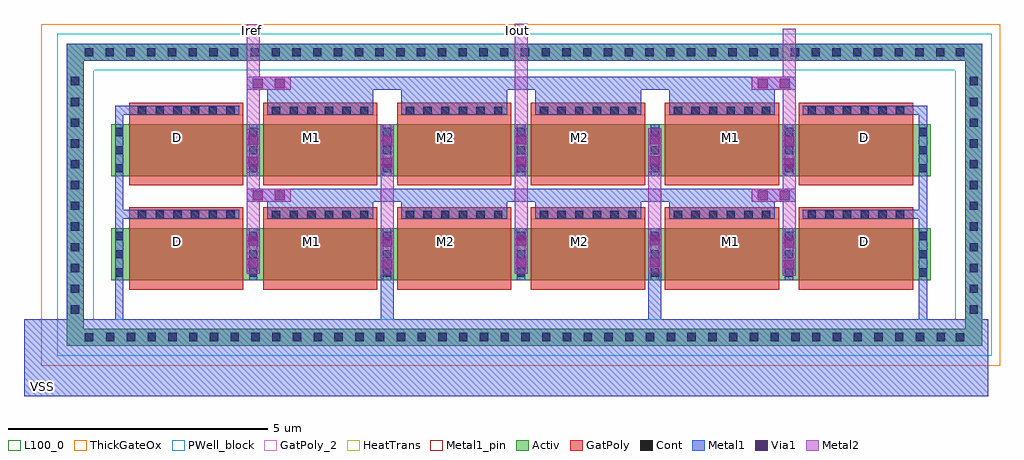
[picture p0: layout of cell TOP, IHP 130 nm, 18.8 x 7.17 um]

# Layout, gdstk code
from math import pi, radians
import gdstk
lib = gdstk.Library(unit=1e-6, precision=1e-09)
def R(c, l, rs):  # rectangles x0, y0, x1, y1
    for r in rs: c.add(gdstk.rectangle(r[:2], r[2:], *l))
def A(c, l, x, y, w, h, nx, ny, dx, dy):  # array of equal rectangles
    R(c, l, [(x+i*dx, y+j*dy, x+i*dx+w, y+j*dy+h) for i in range(nx) for j in range(ny)])
Activ = (1, 0)
GatPoly = (5, 0)
GatPoly_2 = (5, 2)
Cont = (6, 0)
Metal1 = (8, 0)
Metal1_pin = (8, 2)
Metal2 = (10, 0)
Via1 = (19, 0)
ThickGateOx = (44, 0)
PWell_block = (46, 21)
HeatTrans = (51, 0)
L100_0 = (100, 0)

nmoshv = lib.new_cell('nmosHV')
R(nmoshv, Activ, [(0,0,0.3,0.3), (0,0,2.88,1), (2.58,0,2.88,0.3)])
R(nmoshv, GatPoly, [(0.34,-0.18,2.54,1.18)])
R(nmoshv, GatPoly_2, [(0.34,-0.18,2.54,1.18)])
A(nmoshv, Cont, 0.07, 0.07, 0.16, 0.16, 1, 3, 0, 0.35)
A(nmoshv, Cont, 2.65, 0.07, 0.16, 0.16, 1, 3, 0, 0.35)
R(nmoshv, Metal1, [(0.07,0,0.23,1), (2.65,0,2.81,1)])
R(nmoshv, Metal1_pin, [(0.07,0,0.23,1), (2.65,0,2.81,1)])
R(nmoshv, ThickGateOx, [(-0.27,-0.52,3.15,1.52)])
R(nmoshv, HeatTrans, [(0.34,-0.18,2.54,1.18)])
nmoshv.add(gdstk.Label('nmosHV', (1.44,0.5), layer=63, texttype=0))
nmoshv.add(gdstk.Label('nmosHV', (1.44,0.5), layer=51, texttype=0))

top = lib.new_cell('TOP')
A(top, Activ, -5.935, -3.35, 0.4, 0.325, 40, 1, 0.4, 0)
A(top, Activ, -6.96, -2.845, 0.325, 0.4, 1, 12, 0, 0.4)
A(top, Activ, 10.345, -2.845, 0.325, 0.4, 1, 12, 0, 0.4)
A(top, Activ, -6.745, 2.14, 0.4, 0.325, 43, 1, 0.4, 0)
R(top, Activ, [(-6.96,-3.35,-6.635,-2.845), (-6.745,-3.35,-6.345,-3.025), (-6.355,-3.35,-5.935,-3.025), (10.055,-3.35,10.455,-3.025), (10.345,-3.35,10.67,-2.845), (-6.96,1.955,-6.635,2.465), (10.345,1.955,10.67,2.465)])
A(top, GatPoly, -5.76, -0.91, 2.2, 0.23, 6, 2, 2.58, 2.005)
A(top, Cont, -6.205, -3.265, 0.16, 0.16, 41, 1, 0.4, 0)
A(top, Cont, -6.88, -2.735, 0.16, 0.16, 1, 12, 0, 0.4)
A(top, Cont, 10.43, -2.735, 0.16, 0.16, 1, 12, 0, 0.4)
A(top, Cont, -5.59, -0.91, 0.16, 0.16, 6, 2, 0.34, 2.005)
A(top, Cont, -3.01, -0.91, 0.16, 0.16, 6, 2, 0.34, 2.005)
A(top, Cont, -0.43, -0.91, 0.16, 0.16, 6, 2, 0.34, 2.005)
A(top, Cont, 2.15, -0.91, 0.16, 0.16, 6, 2, 0.34, 2.005)
A(top, Cont, 4.73, -0.91, 0.16, 0.16, 6, 2, 0.34, 2.005)
A(top, Cont, 7.31, -0.91, 0.16, 0.16, 6, 2, 0.34, 2.005)
A(top, Cont, -6.615, 2.22, 0.16, 0.16, 42, 1, 0.4, 0)
R(top, Cont, [(-6.615,-3.27,-6.455,-3.11), (10.165,-3.27,10.325,-3.11), (10.165,2.22,10.325,2.38)])
A(top, Metal1, -5.935, -3.35, 0.4, 0.325, 40, 1, 0.4, 0)
A(top, Metal1, -6.96, -2.445, 0.325, 0.4, 1, 10, 0, 0.4)
A(top, Metal1, 10.345, -2.445, 0.325, 0.4, 1, 10, 0, 0.4)
A(top, Metal1, -5.34, -0.91, 0.34, 0.18, 5, 2, 0.34, 2.005)
A(top, Metal1, -3.1, -0.91, 0.34, 0.18, 6, 2, 0.34, 2.005)
A(top, Metal1, -0.52, -0.91, 0.34, 0.18, 6, 2, 0.34, 2.005)
A(top, Metal1, 2.06, -0.91, 0.34, 0.18, 6, 2, 0.34, 2.005)
A(top, Metal1, 4.64, -0.91, 0.34, 0.18, 6, 2, 0.34, 2.005)
A(top, Metal1, 7.22, -0.91, 0.34, 0.18, 5, 2, 0.34, 2.005)
A(top, Metal1, -3.1, -0.875, 2.04, 0.55, 4, 2, 2.58, 2.15)
A(top, Metal1, -6.345, 2.14, 0.4, 0.325, 41, 1, 0.4, 0)
R(top, Metal1, [(-7.785,-4.325,10.79,-2.845), (4.24,-3.805,4.49,-1.96), (-0.915,-3.65,-0.665,-1.805), (-6.96,-3.35,-6.325,-3.025), (-6.37,-3.35,-5.935,-3.025), (-6.03,-3.35,-5.87,1.175), (10.035,-3.35,10.67,-3.025), (9.45,-3.255,9.61,1.27), (-6.96,-3.045,-6.635,-2.445), (10.345,-3.045,10.67,-2.445), (6.83,-2,7.08,-1.58), (-0.915,-1.99,-0.665,-1.57), (-3.495,-1.97,-3.245,-1.55), (1.665,-1.965,1.915,-1.545), (4.24,-1.96,4.49,-1.54), (6.83,-1.58,7.08,-1.15), (-0.915,-1.57,-0.665,-1.14), (-3.495,-1.55,-3.245,-1.12), (1.665,-1.545,1.915,-1.115), (4.24,-1.54,4.49,-1.11), (-6.03,-0.91,-5.34,-0.73), (8.92,-0.91,9.61,-0.73), (-3.495,-0.575,-3.075,-0.325), (-3.075,-0.575,7.08,-0.325), (6.235,-0.575,6.655,-0.325), (6.83,-0.05,7.08,0.37), (-0.915,-0.04,-0.665,0.38), (-3.495,-0.02,-3.245,0.4), (1.665,-0.015,1.915,0.405), (4.24,-0.01,4.49,0.41), (6.83,0.37,7.08,0.8), (-0.915,0.38,-0.665,0.81), (-3.495,0.4,-3.245,0.83), (1.665,0.405,1.915,0.835), (4.24,0.41,4.49,0.84), (-6.03,1.095,-5.34,1.275), (8.92,1.095,9.61,1.275), (-6.96,1.555,-6.635,2.14), (10.345,1.555,10.67,2.14), (-3.495,1.575,-3.075,1.825), (-3.075,1.575,7.08,1.825), (6.235,1.575,6.655,1.825), (-6.96,2.14,-6.325,2.465), (10.035,2.14,10.67,2.465)])
R(top, Metal2, [(6.83,-2,7.08,-1.58), (-0.915,-1.99,-0.665,-1.57), (-0.885,-1.99,-0.695,0.075), (-3.495,-1.97,-3.245,-1.55), (1.665,-1.965,1.915,-1.545), (4.24,-1.96,4.49,-1.54), (6.83,-1.58,7.08,-1.15), (-0.915,-1.57,-0.665,-1.14), (-3.495,-1.55,-3.245,-1.12), (1.665,-1.545,1.915,-1.115), (4.24,-1.54,4.49,-1.11), (4.24,-1.425,4.49,-0.01), (6.83,-1.215,7.08,2.75), (6.87,-1.159,7.031,2.75), (-0.915,-1.14,-0.665,0.915), (-3.495,-1.12,-3.245,2.845), (1.665,-1.115,1.915,2.85), (-3.495,-0.575,-3.075,-0.325), (-3.075,-0.575,-2.65,-0.325), (6.235,-0.575,6.655,-0.325), (6.655,-0.575,7.08,-0.325), (-0.885,-0.195,-0.695,0.075), (6.83,-0.05,7.08,0.37), (-0.915,-0.04,-0.665,0.38), (-3.495,-0.02,-3.245,0.4), (1.665,-0.015,1.915,0.405), (4.24,-0.01,4.49,0.41), (6.83,0.37,7.08,0.8), (-0.915,0.38,-0.665,0.81), (-3.495,0.4,-3.245,0.83), (1.665,0.405,1.915,0.835), (4.24,0.41,4.49,0.84), (-3.495,1.575,-3.075,1.825), (-3.075,1.575,-2.65,1.825), (6.235,1.575,6.655,1.825), (6.655,1.575,7.08,1.825)])
R(top, Via1, [(6.86,-1.885,7.05,-1.695), (-0.885,-1.875,-0.695,-1.685), (-3.465,-1.855,-3.275,-1.665), (1.695,-1.85,1.885,-1.66), (4.27,-1.845,4.46,-1.655), (6.86,-1.46,7.05,-1.27), (-0.885,-1.45,-0.695,-1.26), (-3.465,-1.43,-3.275,-1.24), (1.695,-1.425,1.885,-1.235), (4.27,-1.42,4.46,-1.23), (-3.38,-0.545,-3.19,-0.355), (-2.955,-0.545,-2.765,-0.355), (6.35,-0.545,6.54,-0.355), (6.775,-0.545,6.965,-0.355), (6.86,0.065,7.05,0.255), (-0.885,0.075,-0.695,0.265), (-3.465,0.095,-3.275,0.285), (1.695,0.1,1.885,0.29), (4.27,0.105,4.46,0.295), (6.86,0.49,7.05,0.68), (-0.885,0.5,-0.695,0.69), (-3.465,0.52,-3.275,0.71), (1.695,0.525,1.885,0.715), (4.27,0.53,4.46,0.72), (-3.38,1.605,-3.19,1.795), (-2.955,1.605,-2.765,1.795), (6.35,1.605,6.54,1.795), (6.775,1.605,6.965,1.795)])
R(top, ThickGateOx, [(-7.45,-3.74,11.015,2.845)])
A(top, PWell_block, -7.145, -3.545, 0.4, 0.7, 45, 2, 0.4, 5.5)
A(top, PWell_block, -7.145, -2.845, 0.7, 0.4, 1, 12, 0, 0.4)
A(top, PWell_block, 10.155, -2.845, 0.7, 0.4, 1, 12, 0, 0.4)
R(top, L100_0, [(-6.616,-3.271,-6.454,-3.109), (-6.616,-3.271,-6.454,-3.109), (10.164,-3.271,10.326,-3.109), (10.164,-3.271,10.326,-3.109), (-6.206,-3.266,-6.044,-3.104), (-6.206,-3.266,-6.044,-3.104), (-5.806,-3.266,-5.644,-3.104), (-5.806,-3.266,-5.644,-3.104), (-5.406,-3.266,-5.244,-3.104), (-5.406,-3.266,-5.244,-3.104), (-5.006,-3.266,-4.844,-3.104), (-5.006,-3.266,-4.844,-3.104), (-4.606,-3.266,-4.444,-3.104), (-4.606,-3.266,-4.444,-3.104), (-4.206,-3.266,-4.044,-3.104), (-4.206,-3.266,-4.044,-3.104), (-3.806,-3.266,-3.644,-3.104), (-3.806,-3.266,-3.644,-3.104), (-3.406,-3.266,-3.244,-3.104), (-3.406,-3.266,-3.244,-3.104), (-3.006,-3.266,-2.844,-3.104), (-3.006,-3.266,-2.844,-3.104), (-2.606,-3.266,-2.444,-3.104), (-2.606,-3.266,-2.444,-3.104), (-2.206,-3.266,-2.044,-3.104), (-2.206,-3.266,-2.044,-3.104), (-1.806,-3.266,-1.644,-3.104), (-1.806,-3.266,-1.644,-3.104), (-1.406,-3.266,-1.244,-3.104), (-1.406,-3.266,-1.244,-3.104), (-1.006,-3.266,-0.844,-3.104), (-1.006,-3.266,-0.844,-3.104), (-0.606,-3.266,-0.444,-3.104), (-0.606,-3.266,-0.444,-3.104), (-0.206,-3.266,-0.044,-3.104), (-0.206,-3.266,-0.044,-3.104), (0.194,-3.266,0.356,-3.104), (0.194,-3.266,0.356,-3.104), (0.594,-3.266,0.756,-3.104), (0.594,-3.266,0.756,-3.104), (0.994,-3.266,1.156,-3.104), (0.994,-3.266,1.156,-3.104), (1.394,-3.266,1.556,-3.104), (1.394,-3.266,1.556,-3.104), (1.794,-3.266,1.956,-3.104), (1.794,-3.266,1.956,-3.104), (2.194,-3.266,2.356,-3.104), (2.194,-3.266,2.356,-3.104), (2.594,-3.266,2.756,-3.104), (2.594,-3.266,2.756,-3.104), (2.994,-3.266,3.156,-3.104), (2.994,-3.266,3.156,-3.104), (3.394,-3.266,3.556,-3.104), (3.394,-3.266,3.556,-3.104), (3.794,-3.266,3.956,-3.104), (3.794,-3.266,3.956,-3.104), (4.194,-3.266,4.356,-3.104), (4.194,-3.266,4.356,-3.104), (4.594,-3.266,4.756,-3.104), (4.594,-3.266,4.756,-3.104), (4.994,-3.266,5.156,-3.104), (4.994,-3.266,5.156,-3.104), (5.394,-3.266,5.556,-3.104), (5.394,-3.266,5.556,-3.104), (5.794,-3.266,5.956,-3.104), (5.794,-3.266,5.956,-3.104), (6.194,-3.266,6.356,-3.104), (6.194,-3.266,6.356,-3.104), (6.594,-3.266,6.756,-3.104), (6.594,-3.266,6.756,-3.104), (6.994,-3.266,7.156,-3.104), (6.994,-3.266,7.156,-3.104), (7.394,-3.266,7.556,-3.104), (7.394,-3.266,7.556,-3.104), (7.794,-3.266,7.956,-3.104), (7.794,-3.266,7.956,-3.104), (8.194,-3.266,8.356,-3.104), (8.194,-3.266,8.356,-3.104), (8.594,-3.266,8.756,-3.104), (8.594,-3.266,8.756,-3.104), (8.994,-3.266,9.156,-3.104), (8.994,-3.266,9.156,-3.104), (9.394,-3.266,9.556,-3.104), (9.394,-3.266,9.556,-3.104), (9.794,-3.266,9.956,-3.104), (9.794,-3.266,9.956,-3.104), (-6.881,-2.736,-6.719,-2.574), (-6.881,-2.736,-6.719,-2.574), (10.429,-2.736,10.591,-2.574), (10.429,-2.736,10.591,-2.574), (-6.881,-2.336,-6.719,-2.174), (-6.881,-2.336,-6.719,-2.174), (10.429,-2.336,10.591,-2.174), (10.429,-2.336,10.591,-2.174), (-6.881,-1.936,-6.719,-1.774), (-6.881,-1.936,-6.719,-1.774), (10.429,-1.936,10.591,-1.774), (10.429,-1.936,10.591,-1.774), (-6.881,-1.536,-6.719,-1.374), (-6.881,-1.536,-6.719,-1.374), (10.429,-1.536,10.591,-1.374), (10.429,-1.536,10.591,-1.374), (-6.881,-1.136,-6.719,-0.974), (-6.881,-1.136,-6.719,-0.974), (10.429,-1.136,10.591,-0.974), (10.429,-1.136,10.591,-0.974), (-6.881,-0.736,-6.719,-0.574), (-6.881,-0.736,-6.719,-0.574), (10.429,-0.736,10.591,-0.574), (10.429,-0.736,10.591,-0.574), (-6.881,-0.336,-6.719,-0.174), (-6.881,-0.336,-6.719,-0.174), (10.429,-0.336,10.591,-0.174), (10.429,-0.336,10.591,-0.174), (-6.881,0.064,-6.719,0.226), (-6.881,0.064,-6.719,0.226), (10.429,0.064,10.591,0.226), (10.429,0.064,10.591,0.226), (-6.881,0.464,-6.719,0.626), (-6.881,0.464,-6.719,0.626), (10.429,0.464,10.591,0.626), (10.429,0.464,10.591,0.626), (-6.881,0.864,-6.719,1.026), (-6.881,0.864,-6.719,1.026), (10.429,0.864,10.591,1.026), (10.429,0.864,10.591,1.026), (-6.881,1.264,-6.719,1.426), (-6.881,1.264,-6.719,1.426), (10.429,1.264,10.591,1.426), (10.429,1.264,10.591,1.426), (-6.881,1.664,-6.719,1.826), (-6.881,1.664,-6.719,1.826), (10.429,1.664,10.591,1.826), (10.429,1.664,10.591,1.826), (-6.616,2.219,-6.454,2.381), (-6.616,2.219,-6.454,2.381), (-6.216,2.219,-6.054,2.381), (-6.216,2.219,-6.054,2.381), (-5.816,2.219,-5.654,2.381), (-5.816,2.219,-5.654,2.381), (-5.416,2.219,-5.254,2.381), (-5.416,2.219,-5.254,2.381), (-5.016,2.219,-4.854,2.381), (-5.016,2.219,-4.854,2.381), (-4.616,2.219,-4.454,2.381), (-4.616,2.219,-4.454,2.381), (-4.216,2.219,-4.054,2.381), (-4.216,2.219,-4.054,2.381), (-3.816,2.219,-3.654,2.381), (-3.816,2.219,-3.654,2.381), (-3.416,2.219,-3.254,2.381), (-3.416,2.219,-3.254,2.381), (-3.016,2.219,-2.854,2.381), (-3.016,2.219,-2.854,2.381), (-2.616,2.219,-2.454,2.381), (-2.616,2.219,-2.454,2.381), (-2.216,2.219,-2.054,2.381), (-2.216,2.219,-2.054,2.381), (-1.816,2.219,-1.654,2.381), (-1.816,2.219,-1.654,2.381), (-1.416,2.219,-1.254,2.381), (-1.416,2.219,-1.254,2.381), (-1.016,2.219,-0.854,2.381), (-1.016,2.219,-0.854,2.381), (-0.616,2.219,-0.454,2.381), (-0.616,2.219,-0.454,2.381), (-0.216,2.219,-0.054,2.381), (-0.216,2.219,-0.054,2.381), (0.184,2.219,0.346,2.381), (0.184,2.219,0.346,2.381), (0.584,2.219,0.746,2.381), (0.584,2.219,0.746,2.381), (0.984,2.219,1.146,2.381), (0.984,2.219,1.146,2.381), (1.384,2.219,1.546,2.381), (1.384,2.219,1.546,2.381), (1.784,2.219,1.946,2.381), (1.784,2.219,1.946,2.381), (2.184,2.219,2.346,2.381), (2.184,2.219,2.346,2.381), (2.584,2.219,2.746,2.381), (2.584,2.219,2.746,2.381), (2.984,2.219,3.146,2.381), (2.984,2.219,3.146,2.381), (3.384,2.219,3.546,2.381), (3.384,2.219,3.546,2.381), (3.784,2.219,3.946,2.381), (3.784,2.219,3.946,2.381), (4.184,2.219,4.346,2.381), (4.184,2.219,4.346,2.381), (4.584,2.219,4.746,2.381), (4.584,2.219,4.746,2.381), (4.984,2.219,5.146,2.381), (4.984,2.219,5.146,2.381), (5.384,2.219,5.546,2.381), (5.384,2.219,5.546,2.381), (5.784,2.219,5.946,2.381), (5.784,2.219,5.946,2.381), (6.184,2.219,6.346,2.381), (6.184,2.219,6.346,2.381), (6.584,2.219,6.746,2.381), (6.584,2.219,6.746,2.381), (6.984,2.219,7.146,2.381), (6.984,2.219,7.146,2.381), (7.384,2.219,7.546,2.381), (7.384,2.219,7.546,2.381), (7.784,2.219,7.946,2.381), (7.784,2.219,7.946,2.381), (8.184,2.219,8.346,2.381), (8.184,2.219,8.346,2.381), (8.584,2.219,8.746,2.381), (8.584,2.219,8.746,2.381), (8.984,2.219,9.146,2.381), (8.984,2.219,9.146,2.381), (9.384,2.219,9.546,2.381), (9.384,2.219,9.546,2.381), (9.784,2.219,9.946,2.381), (9.784,2.219,9.946,2.381), (10.164,2.219,10.326,2.381), (10.164,2.219,10.326,2.381)])
top.add(gdstk.Reference(nmoshv, (-0.94,-0.085)))
top.add(gdstk.Reference(nmoshv, (1.64,-0.085)))
top.add(gdstk.Reference(nmoshv, (-6.1,-0.085)))
top.add(gdstk.Reference(nmoshv, (-3.52,-0.085)))
top.add(gdstk.Reference(nmoshv, (9.68,-0.085), rotation=pi, x_reflection=True))
top.add(gdstk.Reference(nmoshv, (7.1,-0.085), rotation=pi, x_reflection=True))
top.add(gdstk.Reference(nmoshv, (-0.94,-2.09)))
top.add(gdstk.Reference(nmoshv, (1.64,-2.09)))
top.add(gdstk.Reference(nmoshv, (-6.1,-2.09)))
top.add(gdstk.Reference(nmoshv, (-3.52,-2.09)))
top.add(gdstk.Reference(nmoshv, (9.68,-2.09), rotation=pi, x_reflection=True))
top.add(gdstk.Reference(nmoshv, (7.1,-2.09), rotation=pi, x_reflection=True))
top.add(gdstk.Label('VSS', (-7.425,-4.14), layer=8, texttype=2))
top.add(gdstk.Label('M2', (0.34,0.665), layer=8, texttype=25))
top.add(gdstk.Label('M2', (2.92,0.665), layer=8, texttype=25))
top.add(gdstk.Label('D', (-4.82,0.665), layer=8, texttype=25))
top.add(gdstk.Label('M1', (-2.24,0.665), layer=8, texttype=25))
top.add(gdstk.Label('D', (8.4,0.665), layer=8, texttype=25))
top.add(gdstk.Label('M1', (5.82,0.665), layer=8, texttype=25))
top.add(gdstk.Label('M2', (0.34,-1.34), layer=8, texttype=25))
top.add(gdstk.Label('M2', (2.92,-1.34), layer=8, texttype=25))
top.add(gdstk.Label('D', (-4.82,-1.34), layer=8, texttype=25))
top.add(gdstk.Label('M1', (-2.24,-1.34), layer=8, texttype=25))
top.add(gdstk.Label('D', (8.4,-1.34), layer=8, texttype=25))
top.add(gdstk.Label('M1', (5.82,-1.34), layer=8, texttype=25))
top.add(gdstk.Label('Iref', (-3.405,2.725), layer=10, texttype=2))
top.add(gdstk.Label('Iout', (1.725,2.72), layer=10, texttype=2))

lib.write_gds('TOP.gds')
